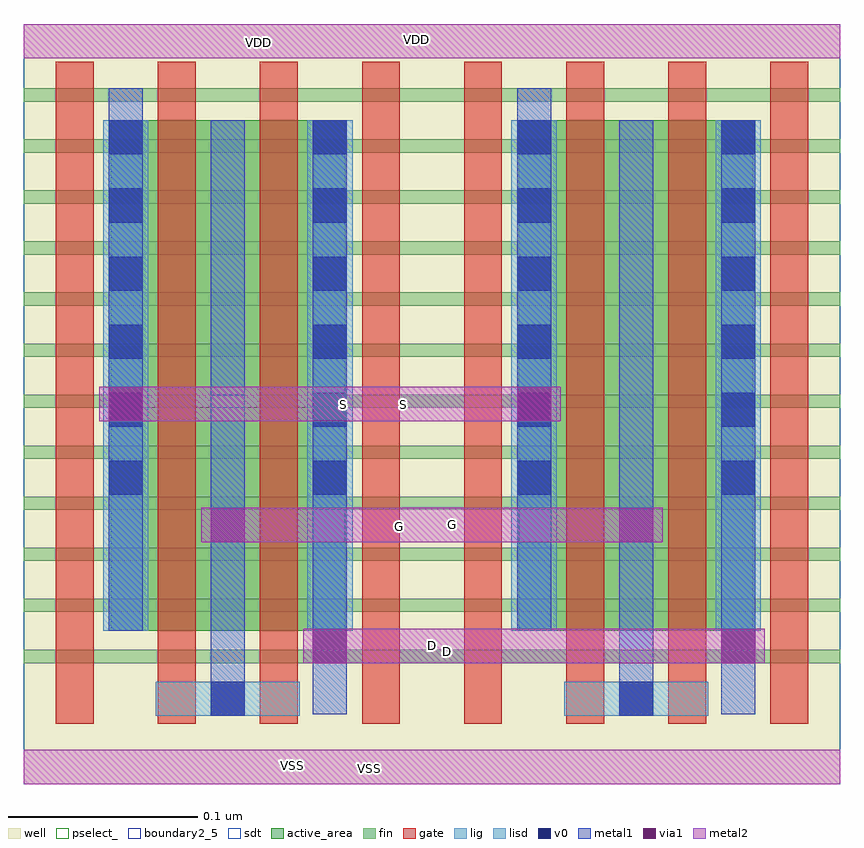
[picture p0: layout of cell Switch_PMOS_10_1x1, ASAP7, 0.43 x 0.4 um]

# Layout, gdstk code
import gdstk
lib = gdstk.Library(unit=1e-6, precision=2.5e-10)
def R(c, l, rs):  # rectangles x0, y0, x1, y1
    for r in rs: c.add(gdstk.rectangle(r[:2], r[2:], *l))
def A(c, l, x, y, w, h, nx, ny, dx, dy):  # array of equal rectangles
    R(c, l, [(x+i*dx, y+j*dy, x+i*dx+w, y+j*dy+h) for i in range(nx) for j in range(ny)])
well = (1, 0)
fin = (2, 0)
gate = (7, 0)
active_area = (11, 0)
pselect_ = (13, 0)
lig = (16, 0)
lisd = (17, 0)
v0 = (18, 0)
metal1 = (19, 0)
metal2 = (20, 0)
via1 = (21, 0)
sdt = (88, 0)
boundary2_5 = (235, 5)

m2_m1_cdns_543803563480 = lib.new_cell('M2_M1_CDNS_543803563480')
R(m2_m1_cdns_543803563480, metal1, [(-0.009,-0.014,0.009,0.014)])
R(m2_m1_cdns_543803563480, metal2, [(-0.014,-0.009,0.014,0.009)])
R(m2_m1_cdns_543803563480, via1, [(-0.009,-0.009,0.009,0.009)])

switch_pmos_10_1x1 = lib.new_cell('Switch_PMOS_10_1x1')
R(switch_pmos_10_1x1, well, [(0,0,0.432,0.402)])
A(switch_pmos_10_1x1, fin, 0, 0.118, 0.216, 0.007, 1, 10, 0, 0.027)
A(switch_pmos_10_1x1, fin, 0.216, 0.118, 0.216, 0.007, 1, 10, 0, 0.027)
R(switch_pmos_10_1x1, fin, [(0,0.064,0.216,0.071), (0.216,0.064,0.432,0.071), (0,0.091,0.216,0.098), (0,0.091,0.216,0.098), (0.216,0.091,0.432,0.098), (0.216,0.091,0.432,0.098), (0,0.118,0.216,0.125), (0.216,0.118,0.432,0.125)])
A(switch_pmos_10_1x1, gate, 0.179, 0.032, 0.02, 0.35, 3, 1, 0.054, 0)
R(switch_pmos_10_1x1, gate, [(0.017,0.032,0.037,0.382), (0.071,0.032,0.091,0.382), (0.071,0.032,0.091,0.382), (0.125,0.032,0.145,0.382), (0.125,0.032,0.145,0.382), (0.179,0.032,0.199,0.382), (0.287,0.032,0.307,0.382), (0.341,0.032,0.361,0.382), (0.341,0.032,0.361,0.382), (0.395,0.032,0.415,0.382), (0.395,0.032,0.415,0.382)])
R(switch_pmos_10_1x1, active_area, [(0.046,0.081,0.17,0.351), (0.262,0.081,0.386,0.351)])
R(switch_pmos_10_1x1, pselect_, [(0,0,0.432,0.402)])
R(switch_pmos_10_1x1, lig, [(0.07,0.036,0.146,0.054), (0.286,0.036,0.362,0.054)])
A(switch_pmos_10_1x1, lisd, 0.042, 0.081, 0.024, 0.27, 4, 1, 0.108, 0)
A(switch_pmos_10_1x1, v0, 0.045, 0.153, 0.018, 0.018, 4, 6, 0.108, 0.036)
R(switch_pmos_10_1x1, v0, [(0.099,0.036,0.117,0.054), (0.315,0.036,0.333,0.054)])
R(switch_pmos_10_1x1, metal1, [(0.099,0.036,0.117,0.351), (0.315,0.036,0.333,0.351), (0.153,0.037,0.171,0.351), (0.369,0.037,0.387,0.351), (0.045,0.081,0.063,0.368), (0.261,0.081,0.279,0.368)])
R(switch_pmos_10_1x1, metal2, [(0,0,0.432,0.018), (0,0,0.432,0.018), (0.148,0.064,0.392,0.082), (0.148,0.064,0.392,0.082), (0.094,0.128,0.338,0.146), (0.094,0.128,0.338,0.146), (0.04,0.192,0.284,0.21), (0.04,0.192,0.284,0.21), (0,0.384,0.432,0.402), (0,0.384,0.432,0.402)])
A(switch_pmos_10_1x1, sdt, 0.042, 0.081, 0.024, 0.27, 4, 1, 0.108, 0)
R(switch_pmos_10_1x1, boundary2_5, [(0,0,0.432,0.402)])
switch_pmos_10_1x1.add(gdstk.Reference(m2_m1_cdns_543803563480, (0.378,0.073), x_reflection=True))
switch_pmos_10_1x1.add(gdstk.Reference(m2_m1_cdns_543803563480, (0.162,0.073), x_reflection=True))
switch_pmos_10_1x1.add(gdstk.Reference(m2_m1_cdns_543803563480, (0.324,0.137), x_reflection=True))
switch_pmos_10_1x1.add(gdstk.Reference(m2_m1_cdns_543803563480, (0.108,0.137), x_reflection=True))
switch_pmos_10_1x1.add(gdstk.Reference(m2_m1_cdns_543803563480, (0.27,0.201), x_reflection=True))
switch_pmos_10_1x1.add(gdstk.Reference(m2_m1_cdns_543803563480, (0.054,0.201), x_reflection=True))
switch_pmos_10_1x1.add(gdstk.Label('D', (0.224,0.07), layer=20, texttype=0))
switch_pmos_10_1x1.add(gdstk.Label('VDD', (0.124,0.392), layer=20, texttype=0))
switch_pmos_10_1x1.add(gdstk.Label('G', (0.227,0.137), layer=20, texttype=0))
switch_pmos_10_1x1.add(gdstk.Label('S', (0.169,0.201), layer=20, texttype=0))
switch_pmos_10_1x1.add(gdstk.Label('VSS', (0.142,0.01), layer=20, texttype=0))
switch_pmos_10_1x1.add(gdstk.Label('VDD', (0.208,0.394), layer=20, texttype=0))
switch_pmos_10_1x1.add(gdstk.Label('D', (0.216,0.073), layer=20, texttype=0))
switch_pmos_10_1x1.add(gdstk.Label('G', (0.199,0.136), layer=20, texttype=0))
switch_pmos_10_1x1.add(gdstk.Label('S', (0.201,0.201), layer=20, texttype=0))
switch_pmos_10_1x1.add(gdstk.Label('VSS', (0.183,0.008), layer=20, texttype=0))

lib.write_gds('Switch_PMOS_10_1x1.gds')
